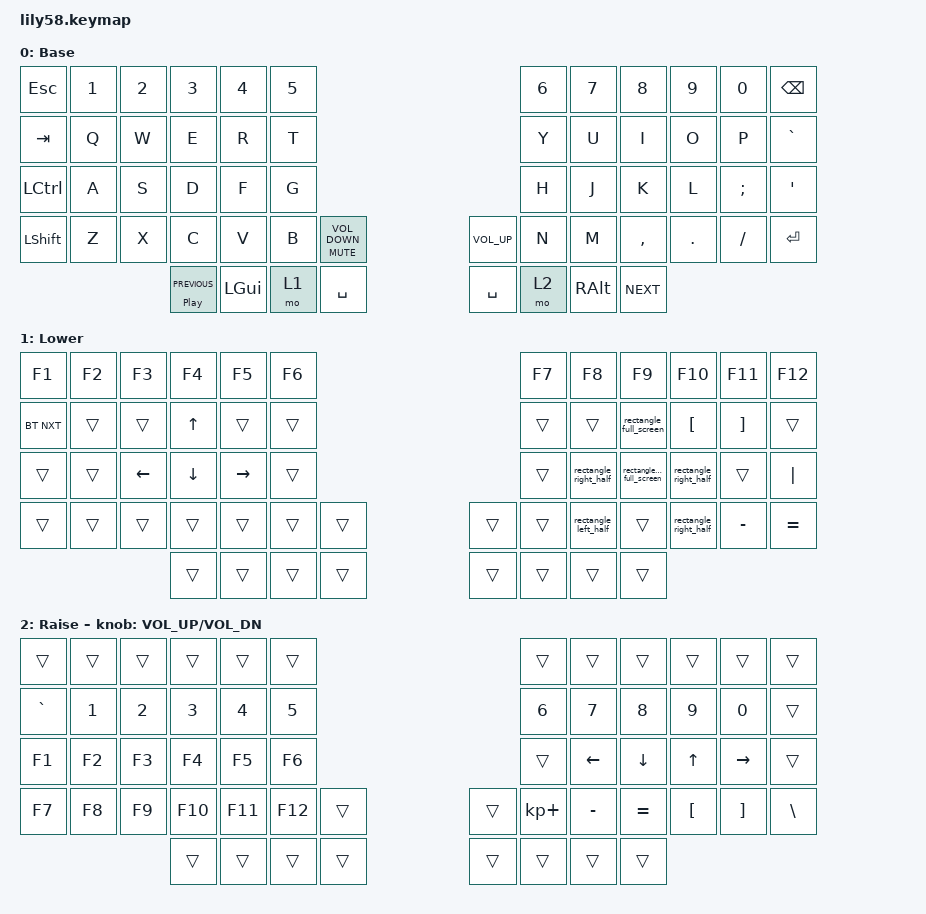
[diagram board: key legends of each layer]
/*
 * Copyright (c) 2020 The ZMK Contributors
 *
 * SPDX-License-Identifier: MIT
 */

#include <behaviors.dtsi>
#include <dt-bindings/zmk/bt.h>
#include <dt-bindings/zmk/keys.h>

/ {
    macros {
        rectangle_move_left: rectangle_move_left {
            compatible = "zmk,behavior-macro";
            #binding-cells = <0>;
            bindings =
                <&macro_press>,
                <&kp LCTRL &kp LEFT_ALT &kp LEFT_COMMAND &kp LEFT>,
                <&macro_release>,
                <&kp LCTRL &kp LEFT_ALT &kp LEFT_COMMAND &kp LEFT>;

            label = "RECTANGLE_MOVE_LEFT";
        };
        rectangle_move_right: rectangle_move_right {
            compatible = "zmk,behavior-macro";
            #binding-cells = <0>;
            bindings =
                <&macro_press>,
                <&kp LCTRL &kp LEFT_ALT &kp LEFT_COMMAND &kp RIGHT>,
                <&macro_release>,
                <&kp LCTRL &kp LEFT_ALT &kp LEFT_COMMAND &kp RIGHT>;

            label = "RECTANGLE_MOVE_RIGHT";
        };
        rectangle_full_screen: rectangle_full_screen {
            compatible = "zmk,behavior-macro";
            #binding-cells = <0>;
            bindings =
                <&macro_press>,
                <&kp LCTRL &kp LEFT_COMMAND &kp ENTER>,
                <&macro_release>,
                <&kp LCTRL &kp LEFT_COMMAND &kp ENTER>;

            label = "RECTANGLE_FULL_SCREEN";
        };
        rectangle_almost_full_screen: rectangle_almost_full_screen {
            compatible = "zmk,behavior-macro";
            #binding-cells = <0>;
            bindings =
                <&macro_press>,
                <&kp LCTRL &kp LEFT_COMMAND &kp ENTER>,
                <&macro_release>,
                <&kp LCTRL &kp LEFT_COMMAND &kp ENTER>;

            label = "RECTANGLE_ALMOST_FULL_SCREEN";
        };
        rectangle_left_half: rectangle_left_half {
            compatible = "zmk,behavior-macro";
            #binding-cells = <0>;
            bindings =
                <&macro_press>,
                <&kp LCTRL &kp LEFT_COMMAND &kp LEFT>,
                <&macro_release>,
                <&kp LCTRL &kp LEFT_COMMAND &kp LEFT>;

            label = "RECTANGLE_LEFT_HALF";
        };
        rectangle_right_half: rectangle_right_half {
            compatible = "zmk,behavior-macro";
            #binding-cells = <0>;
            bindings =
                <&macro_press>,
                <&kp LCTRL &kp LEFT_COMMAND &kp RIGHT>,
                <&macro_release>,
                <&kp LCTRL &kp LEFT_COMMAND &kp RIGHT>;

            label = "RECTANGLE_RIGHT_HALF";
        };
    };

    keymap {
        compatible = "zmk,keymap";

        default_layer {
            // ------------------------------------------------------------------------------------------------------------
            // |  ESC  |  1  |  2  |  3   |  4   |  5   |                   |  6   |  7    |  8    |  9   |   0   |   `   |
            // |  TAB  |  Q  |  W  |  E   |  R   |  T   |                   |  Y   |  U    |  I    |  O   |   P   |   -   |
            // |  CTRL |  A  |  S  |  D   |  F   |  G   |                   |  H   |  J    |  K    |  L   |   ;   |   '   |
            // | SHIFT |  Z  |  X  |  C   |  V   |  B   |   "["  |  |  "]"  |  N   |  M    |  ,    |  .   |   /   | SHIFT |
            //                     | ALT  | GUI  | LOWER|  SPACE |  | ENTER | RAISE| BSPC  | GUI   |

            display-name = "Base";
            bindings = <
&kp ESC    &kp N1  &kp N2  &kp N3                       &kp N4    &kp N5                                               &kp N6  &kp N7         &kp N8      &kp N9   &kp N0    &kp BACKSPACE
&kp TAB    &kp Q   &kp W   &kp E                        &kp R     &kp T                                                &kp Y   &kp U          &kp I       &kp O    &kp P     &kp GRAVE
&kp LCTRL  &kp A   &kp S   &kp D                        &kp F     &kp G                                                &kp H   &kp J          &kp K       &kp L    &kp SEMI  &kp SQT
&kp LSHFT  &kp Z   &kp X   &kp C                        &kp V     &kp B   &mt K_MUTE C_VOLUME_DOWN    &kp C_VOLUME_UP  &kp N   &kp M          &kp COMMA   &kp DOT  &kp FSLH  &kp ENTER
                           &mt C_PLAY_PAUSE C_PREVIOUS  &kp LGUI  &mo 1   &kp SPACE                   &kp SPACE        &mo 2   &kp RIGHT_ALT  &kp C_NEXT
            >;
        };

        lower_layer {
            // ------------------------------------------------------------------------------------------------------------
            // | BTCLR | BT1 | BT2 |  BT3 |  BT4 |  BT5 |                   |      |       |       |      |       |       |
            // |  F1   |  F2 |  F3 |  F4  |  F5  |  F6  |                   |  F7  |  F8   |  F9   |  F10 |  F11  |  F12  |
            // |   `   |  !  |  @  |  #   |  $   |  %   |                   |  ^   |  &    |  *    |  (   |   )   |   ~   |
            // |       |     |     |      |      |      |        |  |       |      |  _    |  +    |  {   |   }   |  "|"  |
            //                     |      |      |      |        |  |       |      |       |       |

            display-name = "Lower";
            bindings = <
&kp F1      &kp F2  &kp F3    &kp F4        &kp F5     &kp F6                    &kp F7  &kp F8                 &kp F9                         &kp F10                &kp F11            &kp F12
&bt BT_NXT  &trans  &trans    &kp UP_ARROW  &trans     &trans                    &trans  &trans                 &rectangle_full_screen         &kp LEFT_BRACKET       &kp RIGHT_BRACKET  &trans
&trans      &trans  &kp LEFT  &kp DOWN      &kp RIGHT  &trans                    &trans  &rectangle_right_half  &rectangle_almost_full_screen  &rectangle_right_half  &trans             &kp PIPE
&trans      &trans  &trans    &trans        &trans     &trans  &trans    &trans  &trans  &rectangle_left_half   &trans                         &rectangle_right_half  &kp MINUS          &kp EQUAL
                              &trans        &trans     &trans  &trans    &trans  &trans  &trans                 &trans
            >;
        };

        raise_layer {
            // ------------------------------------------------------------------------------------------------------------
            // |       |     |     |      |      |      |                   |      |       |       |      |       |       |
            // |   `   |  1  |  2  |  3   |  4   |  5   |                   |  6   |   7   |   8   |  9   |   0   |       |
            // |   F1  |  F2 |  F3 |  F4  |  F5  |  F6  |                   |      |   <-  |   v   |  ^   |  ->   |       |
            // |   F7  |  F8 |  F9 |  F10 |  F11 |  F12 |        |  |       |  +   |   -   |   =   |  [   |   ]   |   \   |
            //                     |      |      |      |        |  |       |      |       |       |

            display-name = "Raise";
            bindings = <
&trans     &trans  &trans  &trans   &trans   &trans                     &trans       &trans     &trans     &trans    &trans     &trans
&kp GRAVE  &kp N1  &kp N2  &kp N3   &kp N4   &kp N5                     &kp N6       &kp N7     &kp N8     &kp N9    &kp N0     &trans
&kp F1     &kp F2  &kp F3  &kp F4   &kp F5   &kp F6                     &trans       &kp LEFT   &kp DOWN   &kp UP    &kp RIGHT  &trans
&kp F7     &kp F8  &kp F9  &kp F10  &kp F11  &kp F12  &trans    &trans  &kp KP_PLUS  &kp MINUS  &kp EQUAL  &kp LBKT  &kp RBKT   &kp BSLH
                           &trans   &trans   &trans   &trans    &trans  &trans       &trans     &trans
            >;

            sensor-bindings = <&inc_dec_kp C_VOL_UP C_VOL_DN>;
        };

        extra_1 {
            status = "reserved";
        };

        extra_2 {
            status = "reserved";
        };

        extra_3 {
            status = "reserved";
        };
    };
};
